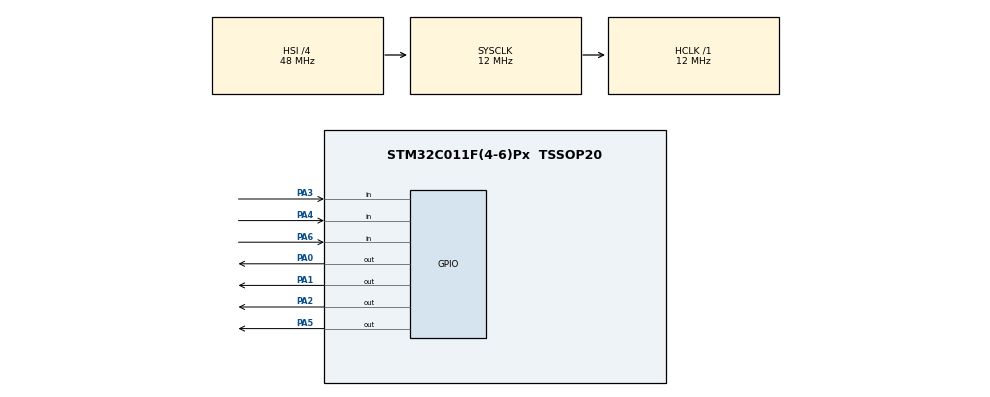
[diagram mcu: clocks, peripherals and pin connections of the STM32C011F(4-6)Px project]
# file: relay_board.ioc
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Mcu.Family=STM32C0
Mcu.Name=STM32C011F(4-6)Px
Mcu.Package=TSSOP20
NVIC.TIM14_IRQn=true\:0\:0\:false\:false\:true\:true\:true\:true
PA0.Signal=GPIO_Output
PA1.Signal=GPIO_Output
PA2.GPIO_PuPd=GPIO_NOPULL
PA2.Signal=GPIO_Output
PA3.GPIO_PuPd=GPIO_PULLUP
PA3.Signal=GPIO_Input
PA4.Signal=GPIO_Input
PA5.Signal=GPIO_Output
PA6.Signal=GPIO_Input
ProjectManager.HeapSize=0x200
ProjectManager.StackSize=0x400
ProjectManager.TargetToolchain=STM32CubeIDE
RCC.ADCFreq_Value=12000000
RCC.AHBFreq_Value=12000000
RCC.CortexFreq_Value=12000000
RCC.EXTERNAL_CLOCK_VALUE=12288000
RCC.HCLKFreq_Value=12000000
RCC.HSE_VALUE=8000000
RCC.HSI_VALUE=48000000
RCC.LSE_VALUE=32768
RCC.SYSCLKFreq_VALUE=12000000
TIM14.Period=9999
TIM14.Prescaler=684
VP_TIM14_VS_ClockSourceINT.Mode=Enable_Timer
board=custom

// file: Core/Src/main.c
/* USER CODE BEGIN Header */
/**
  ******************************************************************************
  * @file           : main.c
  * @brief          : Main program body
  ******************************************************************************
  * @attention
  *
  * Copyright (c) 2025 STMicroelectronics.
  * All rights reserved.
  *
  * This software is licensed under terms that can be found in the LICENSE file
  * in the root directory of this software component.
  * If no LICENSE file comes with this software, it is provided AS-IS.
  *
  ******************************************************************************
  */
/* USER CODE END Header */
#include "main.h"

/* USER CODE BEGIN PD */

#define RED_PIC_O_PIN	  	 GPIO_PIN_0
#define GREEN_PIC_O_PIN    GPIO_PIN_1
#define BMS_FAULT_O_PIN    GPIO_PIN_2
#define BMS_FAULT_I_PIN    GPIO_PIN_3
#define RESET_BUTTON_PIN	 GPIO_PIN_4
#define RESET_LATCH_PIN	 	 GPIO_PIN_5
#define IMD_GATE_I_PIN		 GPIO_PIN_6

/* USER CODE END PD */

TIM_HandleTypeDef htim14;

/* USER CODE BEGIN PV */
uint8_t start = 0;
uint8_t faulted = 0;
uint8_t fault_counter = 0x00;
uint8_t current_fault = 0x00;

/* USER CODE END PV */

void SystemClock_Config(void);
static void MX_GPIO_Init(void);
static void MX_TIM14_Init(void);
/* USER CODE BEGIN PFP */

void HAL_TIM_PeriodElapsedCallback(TIM_HandleTypeDef *htim) {
    if (htim->Instance == TIM14) {

        uint8_t bms_gate_state = HAL_GPIO_ReadPin(GPIOA, BMS_FAULT_I_PIN);
        uint8_t reset_button_state = HAL_GPIO_ReadPin(GPIOA, RESET_BUTTON_PIN);
        if(start == 0) {
        	start = 1;
        	HAL_GPIO_WritePin(GPIOA, RESET_LATCH_PIN, GPIO_PIN_SET);
        }
        if (bms_gate_state == GPIO_PIN_SET) {
            HAL_GPIO_WritePin(GPIOA, BMS_FAULT_O_PIN, GPIO_PIN_RESET);
        } else {
            HAL_GPIO_WritePin(GPIOA, BMS_FAULT_O_PIN, GPIO_PIN_SET);
        }

        if ((reset_button_state == GPIO_PIN_SET) && (current_fault == 0)) {
            faulted = 0;
        }

        if ((current_fault == 1) || faulted) {
          fault_counter = 0;
          HAL_GPIO_TogglePin(GPIOA, RED_PIC_O_PIN);
          HAL_GPIO_WritePin(GPIOA, GREEN_PIC_O_PIN, GPIO_PIN_RESET);
          faulted = 1;
        }
    }
}
/* USER CODE END PFP */

int main(void)
{

  /* MCU Configuration--------------------------------------------------------*/

  /* Reset of all peripherals, Initializes the Flash interface and the Systick. */
  HAL_Init();

  /* Configure the system clock */
  SystemClock_Config();

  /* Initialize all configured peripherals */
  MX_GPIO_Init();
  MX_TIM14_Init();

  /* USER CODE BEGIN 2 */
  uint8_t blink_counter;
  /* USER CODE END 2 */

  /* Infinite loop */
  while (1)
  {

    /* USER CODE BEGIN 3 */
	  uint8_t bms_gate_state = HAL_GPIO_ReadPin(GPIOA, BMS_FAULT_I_PIN);
	  uint8_t imd_gate_state = HAL_GPIO_ReadPin(GPIOA, IMD_GATE_I_PIN);
	  uint8_t reset_button_state = HAL_GPIO_ReadPin(GPIOA, RESET_BUTTON_PIN);

	  uint8_t potential_fault = (bms_gate_state == GPIO_PIN_SET) || (imd_gate_state == GPIO_PIN_RESET);
	  current_fault = potential_fault;

	  //old fault logic
    //uint8_t fault_counter;
	  // if (potential_fault) {
		//   if (fault_counter < 20) {
		// 	  fault_counter++;
		//   } else if (fault_counter == 20) {
		// 	  current_fault = 1;
		//   } else {
		// 	  fault_counter = 0;
		//   }
	  // } else {
		//   if (fault_counter < 20) {
		// 	  fault_counter = 0;
		//   }
		//   if (fault_counter < 40) {
		// 	  fault_counter++;
		//   } else {
		// 	  current_fault = 0;
		// 	  fault_counter = 0;
		//   }
	  // }

	if(reset_button_state) {
		HAL_GPIO_WritePin(GPIOA, RESET_LATCH_PIN, GPIO_PIN_SET);
	}
  else {
    HAL_GPIO_WritePin(GPIOA, RESET_LATCH_PIN, GPIO_PIN_RESET);
  }
	if(!faulted) {
		blink_counter++;
		HAL_GPIO_WritePin(GPIOA, GREEN_PIC_O_PIN, GPIO_PIN_RESET);
		if ((blink_counter % 9) == 0) {
			HAL_GPIO_WritePin(GPIOA, GREEN_PIC_O_PIN, GPIO_PIN_SET);
		}
		HAL_GPIO_WritePin(GPIOA, RED_PIC_O_PIN, GPIO_PIN_RESET);
	}
  }
  /* USER CODE END 3 */
}

void SystemClock_Config(void)
{
  RCC_OscInitTypeDef RCC_OscInitStruct = {0};
  RCC_ClkInitTypeDef RCC_ClkInitStruct = {0};

  __HAL_FLASH_SET_LATENCY(FLASH_LATENCY_0);

  /** Initializes the RCC Oscillators according to the specified parameters
  * in the RCC_OscInitTypeDef structure.
  */
  RCC_OscInitStruct.OscillatorType = RCC_OSCILLATORTYPE_HSI;
  RCC_OscInitStruct.HSIState = RCC_HSI_ON;
  RCC_OscInitStruct.HSIDiv = RCC_HSI_DIV4;
  RCC_OscInitStruct.HSICalibrationValue = RCC_HSICALIBRATION_DEFAULT;
  if (HAL_RCC_OscConfig(&RCC_OscInitStruct) != HAL_OK)
  {
    Error_Handler();
  }

  /** Initializes the CPU, AHB and APB buses clocks
  */
  RCC_ClkInitStruct.ClockType = RCC_CLOCKTYPE_HCLK|RCC_CLOCKTYPE_SYSCLK
                              |RCC_CLOCKTYPE_PCLK1;
  RCC_ClkInitStruct.SYSCLKSource = RCC_SYSCLKSOURCE_HSI;
  RCC_ClkInitStruct.SYSCLKDivider = RCC_SYSCLK_DIV1;
  RCC_ClkInitStruct.AHBCLKDivider = RCC_HCLK_DIV1;
  RCC_ClkInitStruct.APB1CLKDivider = RCC_APB1_DIV1;

  if (HAL_RCC_ClockConfig(&RCC_ClkInitStruct, FLASH_LATENCY_0) != HAL_OK)
  {
    Error_Handler();
  }
}

static void MX_TIM14_Init(void)
{

  htim14.Instance = TIM14;
  htim14.Init.Prescaler = 684;
  htim14.Init.CounterMode = TIM_COUNTERMODE_UP;
  htim14.Init.Period = 9999;
  htim14.Init.ClockDivision = TIM_CLOCKDIVISION_DIV1;
  htim14.Init.AutoReloadPreload = TIM_AUTORELOAD_PRELOAD_DISABLE;
  if (HAL_TIM_Base_Init(&htim14) != HAL_OK)
  {
    Error_Handler();
  }
  /* USER CODE BEGIN TIM14_Init 2 */
  HAL_NVIC_SetPriority(TIM14_IRQn, 0, 0);
  HAL_NVIC_EnableIRQ(TIM14_IRQn);

  /* USER CODE END TIM14_Init 2 */

}

static void MX_GPIO_Init(void)
{
  GPIO_InitTypeDef GPIO_InitStruct = {0};

  /* GPIO Ports Clock Enable */
  __HAL_RCC_GPIOA_CLK_ENABLE();

  /*Configure GPIO pin Output Level */
  HAL_GPIO_WritePin(GPIOA, GPIO_PIN_0|GPIO_PIN_1|GPIO_PIN_2|GPIO_PIN_5, GPIO_PIN_RESET);

  /*Configure GPIO pins : PA0 PA1 PA2 PA5 */
  GPIO_InitStruct.Pin = GPIO_PIN_0|GPIO_PIN_1|GPIO_PIN_2|GPIO_PIN_5;
  GPIO_InitStruct.Mode = GPIO_MODE_OUTPUT_PP;
  GPIO_InitStruct.Pull = GPIO_NOPULL;
  GPIO_InitStruct.Speed = GPIO_SPEED_FREQ_LOW;
  HAL_GPIO_Init(GPIOA, &GPIO_InitStruct);

  /*Configure GPIO pin : PA3 */
  GPIO_InitStruct.Pin = GPIO_PIN_3;
  GPIO_InitStruct.Mode = GPIO_MODE_INPUT;
  GPIO_InitStruct.Pull = GPIO_PULLUP;
  HAL_GPIO_Init(GPIOA, &GPIO_InitStruct);

  /*Configure GPIO pins : PA4 PA6 */
  GPIO_InitStruct.Pin = GPIO_PIN_4|GPIO_PIN_6;
  GPIO_InitStruct.Mode = GPIO_MODE_INPUT;
  GPIO_InitStruct.Pull = GPIO_NOPULL;
  HAL_GPIO_Init(GPIOA, &GPIO_InitStruct);

}

void Error_Handler(void)
{
  __disable_irq();
  while (1)
  {
  }
}
